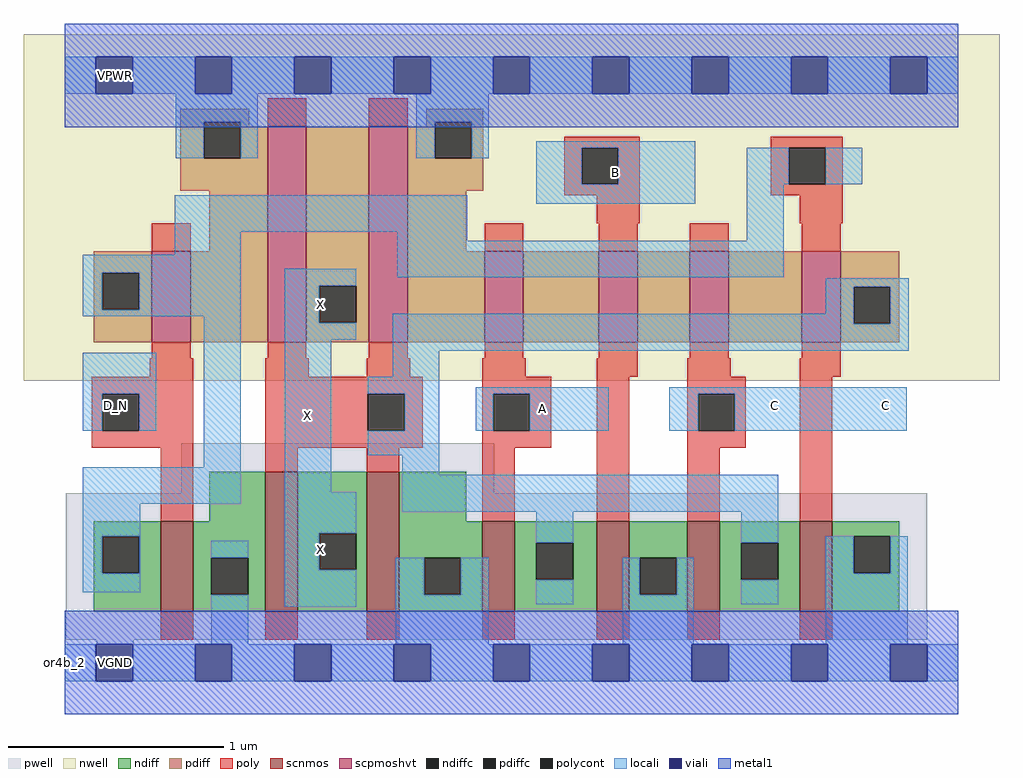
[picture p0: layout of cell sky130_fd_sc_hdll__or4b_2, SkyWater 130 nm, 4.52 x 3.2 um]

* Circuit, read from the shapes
.subckt sky130_fd_sc_hdll__or4b_2 A B C D_N VGND VNB VPB VPWR X
XM1 VGND D_N n1 VNB sky130_fd_pr__nfet_01v8 w=0.42 l=0.15
XM2 X n2 VGND VNB sky130_fd_pr__nfet_01v8 w=0.65 l=0.15 m=2
XM3 n2 A VGND VNB sky130_fd_pr__nfet_01v8 w=0.42 l=0.15
XM4 VGND B n2 VNB sky130_fd_pr__nfet_01v8 w=0.42 l=0.15
XM5 n2 C VGND VNB sky130_fd_pr__nfet_01v8 w=0.42 l=0.15
XM6 VGND n1 n2 VNB sky130_fd_pr__nfet_01v8 w=0.42 l=0.15
XM7 VPWR D_N n1 VPB sky130_fd_pr__pfet_01v8_hvt w=0.42 l=0.18
XM8 X n2 VPWR VPB sky130_fd_pr__pfet_01v8_hvt w=1 l=0.18 m=2
XM9 n3 A VPWR VPB sky130_fd_pr__pfet_01v8_hvt w=0.42 l=0.18
XM10 n4 B n3 VPB sky130_fd_pr__pfet_01v8_hvt w=0.42 l=0.18
XM11 n5 C n4 VPB sky130_fd_pr__pfet_01v8_hvt w=0.42 l=0.18
XM12 n2 n1 n5 VPB sky130_fd_pr__pfet_01v8_hvt w=0.42 l=0.18
.ends

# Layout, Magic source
magic
tech sky130A
magscale 1 2
<< nwell >>
rect -38 261 866 582
<< pwell >>
rect 108 157 398 203
rect 1 21 799 157
rect 30 -17 64 21
<< scnmos >>
rect 89 47 119 131
rect 186 47 216 177
rect 280 47 310 177
rect 387 47 417 131
rect 493 47 523 131
rect 577 47 607 131
rect 681 47 711 131
<< scpmoshvt >>
rect 81 297 117 381
rect 188 297 224 497
rect 282 297 318 497
rect 389 297 425 381
rect 495 297 531 381
rect 579 297 615 381
rect 683 297 719 381
<< ndiff >>
rect 134 131 186 177
rect 27 117 89 131
rect 27 83 35 117
rect 69 83 89 117
rect 27 47 89 83
rect 119 97 186 131
rect 119 63 136 97
rect 170 63 186 97
rect 119 47 186 63
rect 216 120 280 177
rect 216 86 236 120
rect 270 86 280 120
rect 216 47 280 86
rect 310 131 372 177
rect 310 97 387 131
rect 310 63 333 97
rect 367 63 387 97
rect 310 47 387 63
rect 417 111 493 131
rect 417 77 437 111
rect 471 77 493 111
rect 417 47 493 77
rect 523 97 577 131
rect 523 63 533 97
rect 567 63 577 97
rect 523 47 577 63
rect 607 111 681 131
rect 607 77 627 111
rect 661 77 681 111
rect 607 47 681 77
rect 711 117 773 131
rect 711 83 731 117
rect 765 83 773 117
rect 711 47 773 83
<< pdiff >>
rect 107 501 171 513
rect 107 467 129 501
rect 163 497 171 501
rect 335 501 388 513
rect 335 497 343 501
rect 163 467 188 497
rect 107 437 188 467
rect 134 381 188 437
rect 27 361 81 381
rect 27 327 35 361
rect 69 327 81 361
rect 27 297 81 327
rect 117 297 188 381
rect 224 349 282 497
rect 224 315 236 349
rect 270 315 282 349
rect 224 297 282 315
rect 318 467 343 497
rect 377 467 388 501
rect 318 437 388 467
rect 318 381 372 437
rect 318 297 389 381
rect 425 297 495 381
rect 531 297 579 381
rect 615 297 683 381
rect 719 348 773 381
rect 719 314 731 348
rect 765 314 773 348
rect 719 297 773 314
<< ndiffc >>
rect 35 83 69 117
rect 136 63 170 97
rect 236 86 270 120
rect 333 63 367 97
rect 437 77 471 111
rect 533 63 567 97
rect 627 77 661 111
rect 731 83 765 117
<< pdiffc >>
rect 129 467 163 501
rect 35 327 69 361
rect 236 315 270 349
rect 343 467 377 501
rect 731 314 765 348
<< poly >>
rect 188 497 224 523
rect 282 497 318 523
rect 81 381 117 407
rect 463 477 533 487
rect 463 443 479 477
rect 513 443 533 477
rect 463 433 533 443
rect 654 477 721 487
rect 654 443 671 477
rect 705 443 721 477
rect 654 433 721 443
rect 493 407 533 433
rect 681 407 721 433
rect 389 381 425 407
rect 495 381 531 407
rect 579 381 615 407
rect 683 381 719 407
rect 81 282 117 297
rect 188 282 224 297
rect 282 282 318 297
rect 389 282 425 297
rect 495 282 531 297
rect 579 282 615 297
rect 683 282 719 297
rect 79 265 119 282
rect 25 249 119 265
rect 25 215 35 249
rect 69 215 119 249
rect 25 199 119 215
rect 89 131 119 199
rect 186 265 226 282
rect 280 265 320 282
rect 387 265 427 282
rect 493 265 531 282
rect 577 265 617 282
rect 681 265 719 282
rect 186 249 332 265
rect 186 215 281 249
rect 315 215 332 249
rect 186 199 332 215
rect 387 249 451 265
rect 387 215 397 249
rect 431 215 451 249
rect 387 199 451 215
rect 186 177 216 199
rect 280 177 310 199
rect 387 131 417 199
rect 493 131 523 265
rect 577 249 631 265
rect 577 215 587 249
rect 621 215 631 249
rect 577 199 631 215
rect 577 131 607 199
rect 681 131 711 265
rect 89 21 119 47
rect 186 21 216 47
rect 280 21 310 47
rect 387 21 417 47
rect 493 21 523 47
rect 577 21 607 47
rect 681 21 711 47
<< polycont >>
rect 479 443 513 477
rect 671 443 705 477
rect 35 215 69 249
rect 281 215 315 249
rect 397 215 431 249
rect 587 215 621 249
<< locali >>
rect 0 527 29 561
rect 63 527 121 561
rect 155 527 213 561
rect 247 527 305 561
rect 339 527 397 561
rect 431 527 489 561
rect 523 527 581 561
rect 615 527 673 561
rect 707 527 765 561
rect 799 527 828 561
rect 103 501 179 527
rect 103 467 129 501
rect 163 467 179 501
rect 326 501 393 527
rect 326 467 343 501
rect 377 467 393 501
rect 437 477 584 483
rect 437 443 479 477
rect 513 443 584 477
rect 102 399 373 433
rect 437 425 584 443
rect 632 443 671 477
rect 705 443 739 477
rect 102 378 163 399
rect 17 361 163 378
rect 308 391 373 399
rect 632 391 666 443
rect 17 327 35 361
rect 69 327 163 361
rect 17 321 163 327
rect 17 249 85 287
rect 17 215 35 249
rect 69 215 85 249
rect 129 181 163 321
rect 17 147 163 181
rect 204 349 270 365
rect 308 357 666 391
rect 204 315 236 349
rect 705 348 782 356
rect 705 323 731 348
rect 204 299 270 315
rect 304 314 731 323
rect 765 314 782 348
rect 204 158 247 299
rect 304 289 782 314
rect 304 265 347 289
rect 281 249 347 265
rect 315 215 347 249
rect 381 249 504 255
rect 381 215 397 249
rect 431 215 504 249
rect 560 249 780 255
rect 560 215 587 249
rect 621 215 780 249
rect 281 192 347 215
rect 313 174 347 192
rect 17 117 70 147
rect 17 83 35 117
rect 69 83 70 117
rect 204 120 270 158
rect 313 140 661 174
rect 17 65 70 83
rect 136 97 170 113
rect 136 17 170 63
rect 204 86 236 120
rect 437 111 471 140
rect 204 52 270 86
rect 307 63 333 97
rect 367 63 393 97
rect 307 17 393 63
rect 627 111 661 140
rect 437 54 471 77
rect 517 63 533 97
rect 567 63 583 97
rect 517 17 583 63
rect 627 54 661 77
rect 705 83 731 117
rect 765 83 781 117
rect 705 17 781 83
rect 0 -17 29 17
rect 63 -17 121 17
rect 155 -17 213 17
rect 247 -17 305 17
rect 339 -17 397 17
rect 431 -17 489 17
rect 523 -17 581 17
rect 615 -17 673 17
rect 707 -17 765 17
rect 799 -17 828 17
<< viali >>
rect 29 527 63 561
rect 121 527 155 561
rect 213 527 247 561
rect 305 527 339 561
rect 397 527 431 561
rect 489 527 523 561
rect 581 527 615 561
rect 673 527 707 561
rect 765 527 799 561
rect 29 -17 63 17
rect 121 -17 155 17
rect 213 -17 247 17
rect 305 -17 339 17
rect 397 -17 431 17
rect 489 -17 523 17
rect 581 -17 615 17
rect 673 -17 707 17
rect 765 -17 799 17
<< metal1 >>
rect 0 561 828 592
rect 0 527 29 561
rect 63 527 121 561
rect 155 527 213 561
rect 247 527 305 561
rect 339 527 397 561
rect 431 527 489 561
rect 523 527 581 561
rect 615 527 673 561
rect 707 527 765 561
rect 799 527 828 561
rect 0 496 828 527
rect 0 17 828 48
rect 0 -17 29 17
rect 63 -17 121 17
rect 155 -17 213 17
rect 247 -17 305 17
rect 339 -17 397 17
rect 431 -17 489 17
rect 523 -17 581 17
rect 615 -17 673 17
rect 707 -17 765 17
rect 799 -17 828 17
rect 0 -48 828 -17
<< labels >>
flabel locali s 743 221 777 255 0 FreeSans 400 180 0 0 C
port 3 nsew signal input
flabel locali s 381 215 504 255 0 FreeSans 400 180 0 0 A
port 1 nsew signal input
flabel locali s 204 299 270 365 0 FreeSans 200 180 0 0 X
port 9 nsew signal output
flabel locali s 641 221 675 255 0 FreeSans 400 180 0 0 C
port 3 nsew signal input
flabel locali s 437 425 584 483 0 FreeSans 400 180 0 0 B
port 2 nsew signal input
flabel locali s 30 221 64 255 0 FreeSans 400 0 0 0 D_N
port 4 nsew signal input
flabel metal1 s 30 527 64 561 0 FreeSans 200 0 0 0 VPWR
port 8 nsew power bidirectional
flabel metal1 s 30 -17 64 17 0 FreeSans 200 0 0 0 VGND
port 5 nsew ground bidirectional
flabel nwell s 30 527 64 561 0 FreeSans 200 0 0 0 VPB
port 7 nsew power bidirectional
flabel pwell s 30 -17 64 17 0 FreeSans 200 0 0 0 VNB
port 6 nsew ground bidirectional
rlabel comment s 0 0 0 0 4 or4b_2
rlabel locali s 204 158 247 299 1 X
port 9 nsew signal output
rlabel locali s 204 52 270 158 1 X
port 9 nsew signal output
<< properties >>
string LEFsite unithd
string LEFclass CORE
string FIXED_BBOX 0 0 828 544
string GDS_FILE $PDKPATH/libs.ref/sky130_fd_sc_hdll/gds/sky130_fd_sc_hdll.gds
string LEFsymmetry X Y R90
string GDS_END 2620158
string GDS_START 2613472
string LEFproperties maskLayoutSubType "abstract" prCellType "standard" originalViewName "layout"
<< end >>
